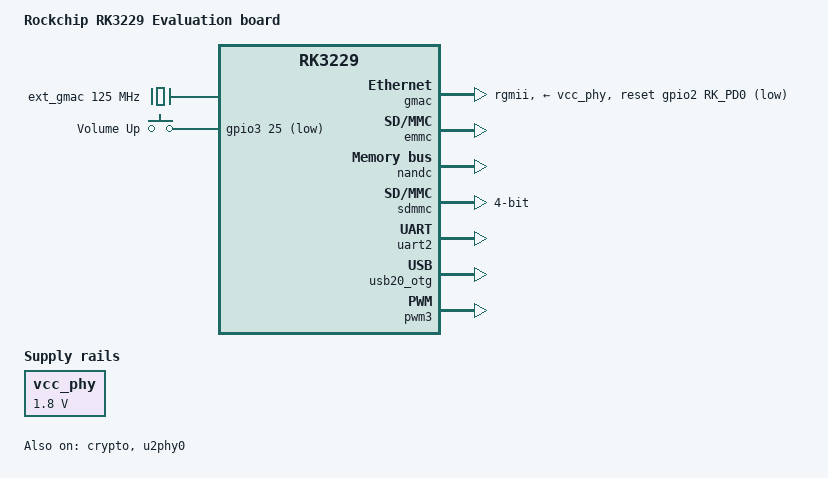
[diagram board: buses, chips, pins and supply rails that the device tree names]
/*
 * (C) Copyright 2017 Rockchip Electronics Co., Ltd.
 *
 * SPDX-License-Identifier:     GPL-2.0+ X11
 */

/dts-v1/;

#include "rk322x.dtsi"
#include "rk322x-u-boot.dtsi"
#include <dt-bindings/input/input.h>

/ {
	model = "Rockchip RK3229 Evaluation board";
	compatible = "rockchip,rk3229-evb", "rockchip,rk3229";

	chosen {
		u-boot,spl-boot-order = &emmc, &sdmmc;
	};

	ext_gmac: ext_gmac {
		compatible = "fixed-clock";
		clock-frequency = <125000000>;
		clock-output-names = "ext_gmac";
		#clock-cells = <0>;
	};

	vcc_phy: vcc-phy-regulator {
		compatible = "regulator-fixed";
		enable-active-high;
		regulator-name = "vcc_phy";
		regulator-min-microvolt = <1800000>;
		regulator-max-microvolt = <1800000>;
		regulator-always-on;
		regulator-boot-on;
	};

	gpio-keys {
		u-boot,dm-spl;
		compatible = "gpio-keys";
		status = "okay";

		volume-up {
			u-boot,dm-spl;
			linux,code = <KEY_VOLUMEUP>;
			label = "Volume Up";
			gpios = <&gpio3 25 GPIO_ACTIVE_LOW>;
		};
	};
};

&dmc {
	rockchip,pctl-timing = <0x96 0xC8 0x1F3 0xF 0x8000004D 0x4 0x4E 0x6 0x3
		0x0 0x6 0x5 0xC 0x10 0x6 0x4 0x4
		0x5 0x4 0x200 0x3 0xA 0x40 0x0 0x1
		0x5 0x5 0x3 0xC 0x1E 0x100 0x0 0x4
		0x0 0x924>;
	rockchip,phy-timing = <0x220 0x1 0x0 0x0 0x0 0x4 0x60>;
	rockchip,sdram-params = <0x428B188 0x0 0x21 0x472 0x15
		0 300 3 0 120>;
};

&gmac {
	assigned-clocks = <&cru SCLK_MAC_EXTCLK>, <&cru SCLK_MAC>;
	assigned-clock-parents = <&ext_gmac>, <&cru SCLK_MAC_EXTCLK>;
	clock_in_out = "input";
	phy-supply = <&vcc_phy>;
	phy-mode = "rgmii";
	pinctrl-names = "default";
	pinctrl-0 = <&rgmii_pins>;
	snps,reset-gpio = <&gpio2 RK_PD0 GPIO_ACTIVE_LOW>;
	snps,reset-active-low;
	snps,reset-delays-us = <0 10000 1000000>;
	tx_delay = <0x30>;
	rx_delay = <0x10>;
	status = "okay";
};

&crypto {
	status = "okay";
};

&emmc {
	status = "okay";
};

&nandc {
	status = "okay";
};

&sdmmc {
	status = "okay";
	bus-width = <4>;
	cap-mmc-highspeed;
	cap-sd-highspeed;
	card-detect-delay = <200>;
	disable-wp;
	num-slots = <1>;
	supports-sd;
};

&uart2 {
	status = "okay";
};

&u2phy0 {
	status = "okay";

	u2phy0_otg: otg-port {
		status = "okay";
	};

	u2phy0_host: host-port {
		status = "okay";
	};
};

&usb20_otg {
       status = "okay";
};

&pwm3 {
	status = "okay";
	compatible = "rockchip,remotectl-pwm";

	ir_key1 {
		rockchip,usercode = <0x4040>;
		rockchip,key_table =
			<0xf2	KEY_REPLY>,
			<0xba	KEY_BACK>,
			<0xf4	KEY_UP>,
			<0xf1	KEY_DOWN>,
			<0xef	KEY_LEFT>,
			<0xee	KEY_RIGHT>,
			<0xbd	KEY_HOME>,
			<0xea	KEY_VOLUMEUP>,
			<0xe3	KEY_VOLUMEDOWN>,
			<0xe2	KEY_SEARCH>,
			<0xb2	KEY_POWER>,
			<0xbc	KEY_MUTE>,
			<0xec	KEY_MENU>,
			<0xbf	0x190>,
			<0xe0	0x191>,
			<0xe1	0x192>,
			<0xe9	183>,
			<0xe6	248>,
			<0xe8	185>,
			<0xe7	186>,
			<0xf0	388>,
			<0xbe	0x175>;
	};

	ir_key2 {
		rockchip,usercode = <0xff00>;
		rockchip,key_table =
			<0xf9	KEY_HOME>,
			<0xbf	KEY_BACK>,
			<0xfb	KEY_MENU>,
			<0xaa	KEY_REPLY>,
			<0xb9	KEY_UP>,
			<0xe9	KEY_DOWN>,
			<0xb8	KEY_LEFT>,
			<0xea	KEY_RIGHT>,
			<0xeb	KEY_VOLUMEDOWN>,
			<0xef	KEY_VOLUMEUP>,
			<0xf7	KEY_MUTE>,
			<0xe7	KEY_POWER>,
			<0xfc	KEY_POWER>,
			<0xa9	KEY_VOLUMEDOWN>,
			<0xa8	KEY_VOLUMEDOWN>,
			<0xe0	KEY_VOLUMEDOWN>,
			<0xa5	KEY_VOLUMEDOWN>,
			<0xab	183>,
			<0xb7	388>,
			<0xe8	388>,
			<0xf8	184>,
			<0xaf	185>,
			<0xed	KEY_VOLUMEDOWN>,
			<0xee	186>,
			<0xb3	KEY_VOLUMEDOWN>,
			<0xf1	KEY_VOLUMEDOWN>,
			<0xf2	KEY_VOLUMEDOWN>,
			<0xf3	KEY_SEARCH>,
			<0xb4	KEY_VOLUMEDOWN>,
			<0xbe	KEY_SEARCH>;
	};

	ir_key3 {
		rockchip,usercode = <0x1dcc>;
		rockchip,key_table =
			<0xee	KEY_REPLY>,
			<0xf0	KEY_BACK>,
			<0xf8	KEY_UP>,
			<0xbb	KEY_DOWN>,
			<0xef	KEY_LEFT>,
			<0xed	KEY_RIGHT>,
			<0xfc	KEY_HOME>,
			<0xf1	KEY_VOLUMEUP>,
			<0xfd	KEY_VOLUMEDOWN>,
			<0xb7	KEY_SEARCH>,
			<0xff	KEY_POWER>,
			<0xf3	KEY_MUTE>,
			<0xbf	KEY_MENU>,
			<0xf9	0x191>,
			<0xf5	0x192>,
			<0xb3	388>,
			<0xbe	KEY_1>,
			<0xba	KEY_2>,
			<0xb2	KEY_3>,
			<0xbd	KEY_4>,
			<0xf9	KEY_5>,
			<0xb1	KEY_6>,
			<0xfc	KEY_7>,
			<0xf8	KEY_8>,
			<0xb0	KEY_9>,
			<0xb6	KEY_0>,
			<0xb5	KEY_BACKSPACE>;
	};
};
